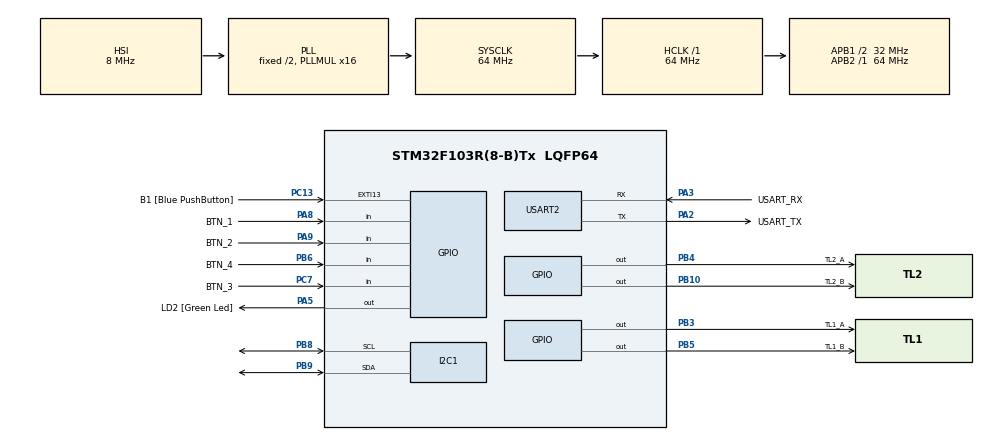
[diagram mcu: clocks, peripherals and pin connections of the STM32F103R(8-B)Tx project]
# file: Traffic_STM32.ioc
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Mcu.Family=STM32F1
Mcu.Name=STM32F103R(8-B)Tx
Mcu.Package=LQFP64
NVIC.EXTI15_10_IRQn=true\:0\:0\:false\:false\:true\:true\:true
NVIC.PriorityGroup=NVIC_PRIORITYGROUP_4
NVIC.TIM2_IRQn=true\:0\:0\:false\:false\:true\:true\:true
PA13.GPIO_Label=TMS
PA13.Mode=Serial_Wire
PA13.Signal=SYS_JTMS-SWDIO
PA14.GPIO_Label=TCK
PA14.Mode=Serial_Wire
PA14.Signal=SYS_JTCK-SWCLK
PA2.GPIO_Label=USART_TX
PA2.GPIO_Mode=GPIO_MODE_AF_PP
PA2.GPIO_PuPd=GPIO_NOPULL
PA2.GPIO_Speed=GPIO_SPEED_FREQ_LOW
PA2.Mode=Asynchronous
PA2.Signal=USART2_TX
PA3.GPIO_Label=USART_RX
PA3.GPIO_Mode=GPIO_MODE_AF_PP
PA3.GPIO_PuPd=GPIO_NOPULL
PA3.GPIO_Speed=GPIO_SPEED_FREQ_LOW
PA3.Mode=Asynchronous
PA3.Signal=USART2_RX
PA5.GPIO_Label=LD2 [Green Led]
PA5.GPIO_ModeDefaultOutputPP=GPIO_MODE_OUTPUT_PP
PA5.GPIO_PuPd=GPIO_NOPULL
PA5.GPIO_Speed=GPIO_SPEED_FREQ_LOW
PA5.Signal=GPIO_Output
PA8.GPIO_Label=BTN_1
PA8.Signal=GPIO_Input
PA9.GPIO_Label=BTN_2
PA9.Signal=GPIO_Input
PB10.GPIO_Label=TL2_B
PB10.Signal=GPIO_Output
PB3.GPIO_Label=TL1_A
PB3.Signal=GPIO_Output
PB4.GPIO_Label=TL2_A
PB4.Signal=GPIO_Output
PB5.GPIO_Label=TL1_B
PB5.Signal=GPIO_Output
PB6.GPIO_Label=BTN_4
PB6.Signal=GPIO_Input
PB8.Mode=I2C
PB8.Signal=I2C1_SCL
PB9.Mode=I2C
PB9.Signal=I2C1_SDA
PC13-TAMPER-RTC.GPIO_Label=B1 [Blue PushButton]
PC13-TAMPER-RTC.GPIO_PuPd=GPIO_NOPULL
PC13-TAMPER-RTC.Signal=GPXTI13
PC14-OSC32_IN.Mode=LSE-External-Oscillator
PC14-OSC32_IN.Signal=RCC_OSC32_IN
PC15-OSC32_OUT.Mode=LSE-External-Oscillator
PC15-OSC32_OUT.Signal=RCC_OSC32_OUT
PC7.GPIO_Label=BTN_3
PC7.Signal=GPIO_Input
PD0-OSC_IN.Mode=HSE-External-Clock-Source
PD0-OSC_IN.Signal=RCC_OSC_IN
PD1-OSC_OUT.Mode=HSE-External-Clock-Source
PD1-OSC_OUT.Signal=RCC_OSC_OUT
ProjectManager.HeapSize=0x200
ProjectManager.StackSize=0x400
ProjectManager.TargetToolchain=STM32CubeIDE
RCC.AHBFreq_Value=64000000
RCC.APB1CLKDivider=RCC_HCLK_DIV2
RCC.APB1Freq_Value=32000000
RCC.APB1TimFreq_Value=64000000
RCC.APB2Freq_Value=64000000
RCC.APB2TimFreq_Value=64000000
RCC.HCLKFreq_Value=64000000
RCC.PLLMUL=RCC_PLL_MUL16
RCC.RTCClockSelection=RCC_RTCCLKSOURCE_LSE
RCC.SYSCLKFreq_VALUE=64000000
RCC.SYSCLKSource=RCC_SYSCLKSOURCE_PLLCLK
RCC.USBFreq_Value=64000000
TIM2.Period=79
TIM2.Prescaler=7999
USART2.VirtualMode=VM_ASYNC
VP_TIM2_VS_ClockSourceINT.Mode=Internal
board=NUCLEO-F103RB

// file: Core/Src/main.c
/* USER CODE BEGIN Header */
/**
  ******************************************************************************
  * @file           : main.c
  * @brief          : Main program body
  ******************************************************************************
  * @attention
  *
  * <h2><center>&copy; Copyright (c) 2026 STMicroelectronics.
  * All rights reserved.</center></h2>
  *
  * This software component is licensed by ST under BSD 3-Clause license,
  * the "License"; You may not use this file except in compliance with the
  * License. You may obtain a copy of the License at:
  *                        opensource.org/licenses/BSD-3-Clause
  *
  ******************************************************************************
  */
/* USER CODE END Header */
#include "main.h"

/* USER CODE BEGIN Includes */
#include "scheduler.h"
#include "button.h"
#include "traffic_light.h"
#include "dht20.h"
#include "lcd.h"
#include "global.h"
#include "fsm_mode.h"
#include <stdio.h>
#ifdef TRAFFIC_LED_PIN_PROBE
void led_pin_probe(LCD_t *display);
#endif
#ifdef TRAFFIC_LED_LIVE_TRACE
void led_live_trace(LCD_t *display);
#endif
/* USER CODE END Includes */

I2C_HandleTypeDef hi2c1;

TIM_HandleTypeDef htim2;

UART_HandleTypeDef huart2;

/* USER CODE BEGIN PV */
DHT20_t dht20;
LCD_t   lcd;
/* USER CODE END PV */

void SystemClock_Config(void);
static void MX_GPIO_Init(void);
static void MX_USART2_UART_Init(void);
static void MX_I2C1_Init(void);
static void MX_TIM2_Init(void);
/* USER CODE BEGIN PFP */
static void task_buttons(void);
static void task_fsm(void);
static void task_lcd_sensor(void);
static void task_heartbeat(void);
/* USER CODE END PFP */

/* USER CODE BEGIN 0 */
static void lcd_print_line(uint8_t row, const char *text)
{
    char line[17];
    uint8_t i = 0;

    while (i < 16U && text[i] != '\0')
    {
        line[i] = text[i];
        i++;
    }
    while (i < 16U)
        line[i++] = ' ';
    line[16] = '\0';

    LCD_SetCursor(&lcd, 0, row);
    LCD_PrintString(&lcd, line);
}

#ifndef TRAFFIC_LED_LIVE_TRACE
static void lcd_print_environment(void)
{
    LCD_SetCursor(&lcd, 0, 0);
    LCD_PrintString(&lcd, "                ");
    LCD_SetCursor(&lcd, 0, 0);
    LCD_PrintString(&lcd, "T:");
    LCD_PrintFloat(&lcd, dht20.temperature, 1);
    LCD_PrintString(&lcd, "C H:");
    LCD_PrintFloat(&lcd, dht20.humidity, 1);
}
#endif

static TrafficColor to_driver_color(traffic_color_t color)
{
    switch (color) {
    case LIGHT_GREEN: return TRAFFIC_GREEN;
    case LIGHT_AMBER: return TRAFFIC_AMBER;
    case LIGHT_RED: return TRAFFIC_RED;
    default: return TRAFFIC_OFF;
    }
}

static char color_initial(traffic_color_t color)
{
    switch (color) {
    case LIGHT_GREEN: return 'G';
    case LIGHT_AMBER: return 'A';
    case LIGHT_RED: return 'R';
    default: return '-';
    }
}

static const char *mode_name(traffic_mode_t mode)
{
    switch (mode) {
    case MODE_AUTO: return "AUTO";
    case MODE_MANUAL: return "MANUAL";
    case MODE_TUNING: return "TUNE";
    case MODE_SWITCH_SAFE: return "SAFE";
    default: return "????";
    }
}

static void task_buttons(void)
{
    uint8_t events = 0U;

    if (isButtonPressed(BTN_MODE))   events |= FSM_B1;
    if (isButtonPressed(BTN_SELECT)) events |= FSM_B2;
    if (isButtonPressed(BTN_SET))    events |= FSM_B3;
    if (isButtonPressed(BTN_CANCEL)) events |= FSM_B4;
    if (events != 0U) fsm_mode_post_buttons(events);
}

static void apply_traffic_outputs(void)
{
    /* Finish setting the stopping road to RED before enabling the other. */
    if (traffic.road1 == LIGHT_RED) {
        traffic_set(ROAD_1, to_driver_color(traffic.road1));
        traffic_set(ROAD_2, to_driver_color(traffic.road2));
    } else {
        traffic_set(ROAD_2, to_driver_color(traffic.road2));
        traffic_set(ROAD_1, to_driver_color(traffic.road1));
    }
}

static void task_fsm(void)
{
    fsm_mode_run();
    apply_traffic_outputs();
}

static void task_lcd_sensor(void)
{
    char line2[17];

    (void)DHT20_Read(&dht20);
    if (!lcd.ready) return;

    if (traffic.mode == MODE_TUNING)
    {
        const char selected = (traffic.selection == SET_GREEN) ? 'G' : 'A';
        const uint8_t selected_value = (traffic.selection == SET_GREEN) ?
            traffic.draft.green : traffic.draft.amber;
        snprintf(line2, sizeof(line2), "TUNE %c:%02u%s",
                 selected, selected_value,
                 traffic_timings_valid(&traffic.draft) ? "" : " !");
    }
    else if (traffic.mode == MODE_AUTO)
    {
        /* Labels follow Road 1 and Road 2, including both amber phases. */
        snprintf(line2, sizeof(line2), "AUTO %c:%02u %c:%02u",
                 color_initial(traffic.road1), traffic_countdown(1U),
                 color_initial(traffic.road2), traffic_countdown(2U));
    }
    else
    {
        snprintf(line2, sizeof(line2), "%s %c/%c",
                 mode_name(traffic.mode), color_initial(traffic.road1),
                 color_initial(traffic.road2));
    }

#ifdef TRAFFIC_LED_LIVE_TRACE
    led_live_trace(&lcd);
#else
    lcd_print_environment();
#endif
    lcd_print_line(1, line2);
}

static void task_heartbeat(void)
{
    HAL_GPIO_TogglePin(LD2_GPIO_Port, LD2_Pin);
}
/* USER CODE END 0 */

int main(void)
{

  /* MCU Configuration--------------------------------------------------------*/

  /* Reset of all peripherals, Initializes the Flash interface and the Systick. */
  HAL_Init();

  /* Configure the system clock */
  SystemClock_Config();

  /* Initialize all configured peripherals */
  MX_GPIO_Init();
  MX_USART2_UART_Init();
  MX_I2C1_Init();
  MX_TIM2_Init();
  /* USER CODE BEGIN 2 */
  SCH_Init();
  button_init();
  traffic_init();
  fsm_mode_init();
  apply_traffic_outputs();

  LCD_Init(&lcd, &hi2c1, LCD_I2C_ADDRESS, LCD_COLS, LCD_ROWS);
#ifdef TRAFFIC_LED_PIN_PROBE
  led_pin_probe(&lcd);
#endif
  DHT20_Init(&dht20, &hi2c1);

  HAL_TIM_Base_Start_IT(&htim2);

  /* All application work runs cooperatively from the 10 ms scheduler tick. */
  SCH_Add_Task(button_reading, 0, 1);
  SCH_Add_Task(task_buttons, 1, 2);
  SCH_Add_Task(task_fsm, 0, 1);
  SCH_Add_Task(task_lcd_sensor, 10, 10);
  SCH_Add_Task(task_heartbeat, 3, 50);
  /* USER CODE END 2 */

  /* Infinite loop */
  while (1)
  {

    /* USER CODE BEGIN 3 */
    SCH_Dispatch_Tasks();
  }
  /* USER CODE END 3 */
}

void SystemClock_Config(void)
{
  RCC_OscInitTypeDef RCC_OscInitStruct = {0};
  RCC_ClkInitTypeDef RCC_ClkInitStruct = {0};

  /** Initializes the RCC Oscillators according to the specified parameters
  * in the RCC_OscInitTypeDef structure.
  */
  RCC_OscInitStruct.OscillatorType = RCC_OSCILLATORTYPE_HSI;
  RCC_OscInitStruct.HSIState = RCC_HSI_ON;
  RCC_OscInitStruct.HSICalibrationValue = RCC_HSICALIBRATION_DEFAULT;
  RCC_OscInitStruct.PLL.PLLState = RCC_PLL_ON;
  RCC_OscInitStruct.PLL.PLLSource = RCC_PLLSOURCE_HSI_DIV2;
  RCC_OscInitStruct.PLL.PLLMUL = RCC_PLL_MUL16;
  if (HAL_RCC_OscConfig(&RCC_OscInitStruct) != HAL_OK)
  {
    Error_Handler();
  }
  /** Initializes the CPU, AHB and APB buses clocks
  */
  RCC_ClkInitStruct.ClockType = RCC_CLOCKTYPE_HCLK|RCC_CLOCKTYPE_SYSCLK
                              |RCC_CLOCKTYPE_PCLK1|RCC_CLOCKTYPE_PCLK2;
  RCC_ClkInitStruct.SYSCLKSource = RCC_SYSCLKSOURCE_PLLCLK;
  RCC_ClkInitStruct.AHBCLKDivider = RCC_SYSCLK_DIV1;
  RCC_ClkInitStruct.APB1CLKDivider = RCC_HCLK_DIV2;
  RCC_ClkInitStruct.APB2CLKDivider = RCC_HCLK_DIV1;

  if (HAL_RCC_ClockConfig(&RCC_ClkInitStruct, FLASH_LATENCY_2) != HAL_OK)
  {
    Error_Handler();
  }
}

static void MX_I2C1_Init(void)
{

  hi2c1.Instance = I2C1;
  hi2c1.Init.ClockSpeed = 100000;
  hi2c1.Init.DutyCycle = I2C_DUTYCYCLE_2;
  hi2c1.Init.OwnAddress1 = 0;
  hi2c1.Init.AddressingMode = I2C_ADDRESSINGMODE_7BIT;
  hi2c1.Init.DualAddressMode = I2C_DUALADDRESS_DISABLE;
  hi2c1.Init.OwnAddress2 = 0;
  hi2c1.Init.GeneralCallMode = I2C_GENERALCALL_DISABLE;
  hi2c1.Init.NoStretchMode = I2C_NOSTRETCH_DISABLE;
  if (HAL_I2C_Init(&hi2c1) != HAL_OK)
  {
    Error_Handler();
  }

}

static void MX_TIM2_Init(void)
{

  TIM_ClockConfigTypeDef sClockSourceConfig = {0};
  TIM_MasterConfigTypeDef sMasterConfig = {0};

  htim2.Instance = TIM2;
  htim2.Init.Prescaler = 7999;
  htim2.Init.CounterMode = TIM_COUNTERMODE_UP;
  htim2.Init.Period = 79;
  htim2.Init.ClockDivision = TIM_CLOCKDIVISION_DIV1;
  htim2.Init.AutoReloadPreload = TIM_AUTORELOAD_PRELOAD_DISABLE;
  if (HAL_TIM_Base_Init(&htim2) != HAL_OK)
  {
    Error_Handler();
  }
  sClockSourceConfig.ClockSource = TIM_CLOCKSOURCE_INTERNAL;
  if (HAL_TIM_ConfigClockSource(&htim2, &sClockSourceConfig) != HAL_OK)
  {
    Error_Handler();
  }
  sMasterConfig.MasterOutputTrigger = TIM_TRGO_RESET;
  sMasterConfig.MasterSlaveMode = TIM_MASTERSLAVEMODE_DISABLE;
  if (HAL_TIMEx_MasterConfigSynchronization(&htim2, &sMasterConfig) != HAL_OK)
  {
    Error_Handler();
  }

}

static void MX_USART2_UART_Init(void)
{

  huart2.Instance = USART2;
  huart2.Init.BaudRate = 115200;
  huart2.Init.WordLength = UART_WORDLENGTH_8B;
  huart2.Init.StopBits = UART_STOPBITS_1;
  huart2.Init.Parity = UART_PARITY_NONE;
  huart2.Init.Mode = UART_MODE_TX_RX;
  huart2.Init.HwFlowCtl = UART_HWCONTROL_NONE;
  huart2.Init.OverSampling = UART_OVERSAMPLING_16;
  if (HAL_UART_Init(&huart2) != HAL_OK)
  {
    Error_Handler();
  }

}

static void MX_GPIO_Init(void)
{
  GPIO_InitTypeDef GPIO_InitStruct = {0};

  /* GPIO Ports Clock Enable */
  __HAL_RCC_GPIOC_CLK_ENABLE();
  __HAL_RCC_GPIOD_CLK_ENABLE();
  __HAL_RCC_GPIOA_CLK_ENABLE();
  __HAL_RCC_GPIOB_CLK_ENABLE();

  /*Configure GPIO pin Output Level */
  HAL_GPIO_WritePin(LD2_GPIO_Port, LD2_Pin, GPIO_PIN_RESET);

  /*Configure GPIO pin Output Level */
  HAL_GPIO_WritePin(GPIOB, TL2_B_Pin|TL1_A_Pin|TL2_A_Pin|TL1_B_Pin, GPIO_PIN_RESET);

  /*Configure GPIO pin : B1_Pin */
  GPIO_InitStruct.Pin = B1_Pin;
  GPIO_InitStruct.Mode = GPIO_MODE_IT_RISING;
  GPIO_InitStruct.Pull = GPIO_NOPULL;
  HAL_GPIO_Init(B1_GPIO_Port, &GPIO_InitStruct);

  /*Configure GPIO pin : LD2_Pin */
  GPIO_InitStruct.Pin = LD2_Pin;
  GPIO_InitStruct.Mode = GPIO_MODE_OUTPUT_PP;
  GPIO_InitStruct.Pull = GPIO_NOPULL;
  GPIO_InitStruct.Speed = GPIO_SPEED_FREQ_LOW;
  HAL_GPIO_Init(LD2_GPIO_Port, &GPIO_InitStruct);

  /*Configure GPIO pins : TL2_B_Pin TL1_A_Pin TL2_A_Pin TL1_B_Pin */
  GPIO_InitStruct.Pin = TL2_B_Pin|TL1_A_Pin|TL2_A_Pin|TL1_B_Pin;
  GPIO_InitStruct.Mode = GPIO_MODE_OUTPUT_PP;
  GPIO_InitStruct.Pull = GPIO_NOPULL;
  GPIO_InitStruct.Speed = GPIO_SPEED_FREQ_LOW;
  HAL_GPIO_Init(GPIOB, &GPIO_InitStruct);

  /*Configure GPIO pin : BTN_3_Pin */
  GPIO_InitStruct.Pin = BTN_3_Pin;
  GPIO_InitStruct.Mode = GPIO_MODE_INPUT;
  GPIO_InitStruct.Pull = GPIO_NOPULL;
  HAL_GPIO_Init(BTN_3_GPIO_Port, &GPIO_InitStruct);

  /*Configure GPIO pins : BTN_1_Pin BTN_2_Pin */
  GPIO_InitStruct.Pin = BTN_1_Pin|BTN_2_Pin;
  GPIO_InitStruct.Mode = GPIO_MODE_INPUT;
  GPIO_InitStruct.Pull = GPIO_NOPULL;
  HAL_GPIO_Init(GPIOA, &GPIO_InitStruct);

  /*Configure GPIO pin : BTN_4_Pin */
  GPIO_InitStruct.Pin = BTN_4_Pin;
  GPIO_InitStruct.Mode = GPIO_MODE_INPUT;
  GPIO_InitStruct.Pull = GPIO_NOPULL;
  HAL_GPIO_Init(BTN_4_GPIO_Port, &GPIO_InitStruct);

  /* EXTI interrupt init*/
  HAL_NVIC_SetPriority(EXTI15_10_IRQn, 0, 0);
  HAL_NVIC_EnableIRQ(EXTI15_10_IRQn);

}

/* USER CODE BEGIN 4 */

void HAL_TIM_PeriodElapsedCallback(TIM_HandleTypeDef *htim)
{
  if (htim->Instance == TIM2)
  {
    SCH_Update();
  }
}
/* USER CODE END 4 */

void Error_Handler(void)
{
  __disable_irq();
  while (1)
  {
  }
}

/************************ (C) COPYRIGHT STMicroelectronics *****END OF FILE****/
